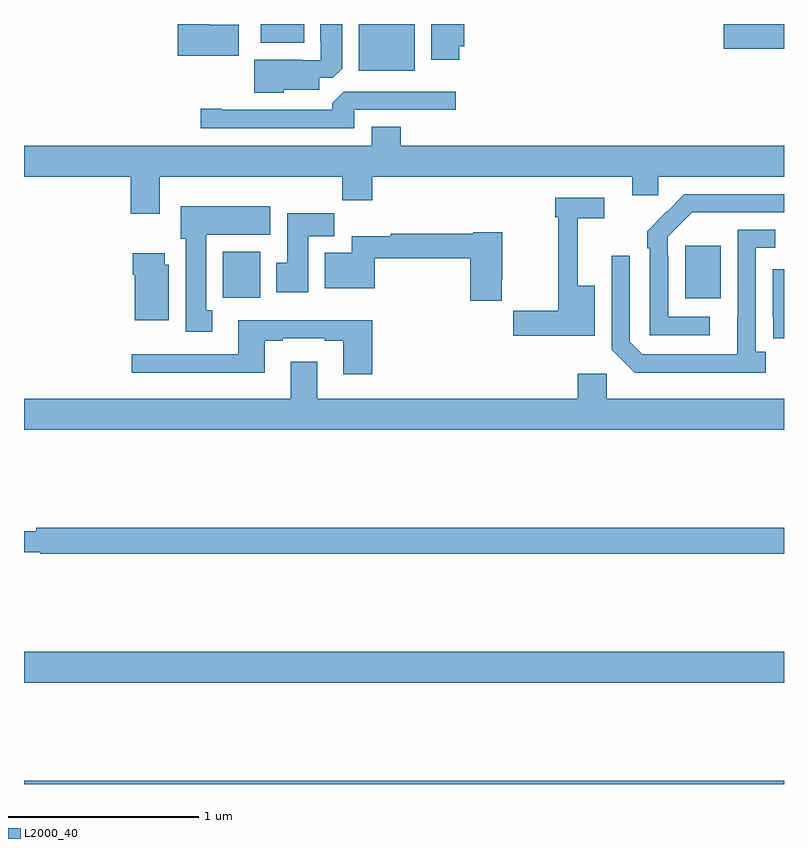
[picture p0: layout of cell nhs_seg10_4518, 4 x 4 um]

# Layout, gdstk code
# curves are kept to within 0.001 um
import gdstk
lib = gdstk.Library(unit=1e-6, precision=1e-09)
def R(c, l, rs):  # rectangles x0, y0, x1, y1
    for r in rs: c.add(gdstk.rectangle(r[:2], r[2:], *l))
def P(c, l, *ps):  # polygons
    for p in ps: c.add(gdstk.Polygon(p, *l))
L2000_40 = (2000, 40)

nhs_seg10_4518 = lib.new_cell('nhs_seg10_4518')
R(nhs_seg10_4518, L2000_40, [(369,1250.5,373,1250.516), (369,1251.032,373,1251.196), (372.479,1253.057,372.667,1253.332), (370.046,1253.06,370.243,1253.302), (370.763,1254.254,371.056,1254.5), (372.684,1254.371,373,1254.5), (370.247,1254.401,370.474,1254.5)])
P(nhs_seg10_4518, L2000_40, [(370.129,1254.495),(369.976,1254.495),(369.976,1254.5),(369.809,1254.5),(369.809,1254.332),(370.129,1254.332)],
  [(370.368,1254.155),(370.555,1254.155),(370.555,1254.216),(370.626,1254.216),(370.675,1254.265),(370.675,1254.5),(370.559,1254.5),(370.559,1254.409),(370.563,1254.409),(370.563,1254.309),(370.463,1254.309),(370.463,1254.313),(370.211,1254.313),(370.211,1254.137),(370.368,1254.137)],
  [(371.291,1254.383),(371.317,1254.383),(371.317,1254.5),(371.144,1254.5),(371.144,1254.312),(371.291,1254.312)],
  [(370.737,1254.048),(371.272,1254.048),(371.272,1254.144),(370.683,1254.144),(370.622,1254.082),(370.622,1254.048),(370.042,1254.048),(370.042,1254.053),(369.93,1254.053),(369.93,1253.952),(370.737,1253.952)],
  [(369,1253.696),(369.563,1253.696),(369.563,1253.502),(369.715,1253.502),(369.715,1253.696),(370.675,1253.696),(370.675,1253.572),(370.832,1253.572),(370.832,1253.696),(372.2,1253.696),(372.2,1253.598),(372.339,1253.598),(372.339,1253.696),(373,1253.696),(373,1253.86),(370.982,1253.86),(370.982,1253.959),(370.829,1253.959),(370.829,1253.86),(369,1253.86)],
  [(372.61,1252.959),(372.39,1252.959),(372.39,1253.279),(372.387,1253.279),(372.387,1253.379),(372.516,1253.508),(373,1253.508),(373,1253.604),(372.476,1253.604),(372.279,1253.409),(372.279,1253.321),(372.294,1253.321),(372.294,1252.863),(372.61,1252.863)],
  [(372.004,1253.122),(371.915,1253.122),(371.915,1253.478),(372.055,1253.478),(372.055,1253.586),(371.797,1253.586),(371.797,1253.483),(371.812,1253.483),(371.812,1252.991),(371.575,1252.991),(371.575,1252.858),(372.004,1252.858)],
  [(369.991,1252.994),(369.958,1252.994),(369.958,1253.39),(370.297,1253.39),(370.297,1253.542),(369.824,1253.542),(369.824,1253.37),(369.851,1253.37),(369.851,1252.881),(369.991,1252.881)],
  [(370.495,1253.384),(370.634,1253.384),(370.634,1253.503),(370.385,1253.503),(370.385,1253.244),(370.328,1253.244),(370.328,1253.088),(370.495,1253.088)],
  [(372.904,1252.774),(372.852,1252.774),(372.852,1253.322),(372.955,1253.322),(372.955,1253.418),(372.756,1253.418),(372.755,1252.761),(372.255,1252.761),(372.189,1252.827),(372.189,1253.281),(372.093,1253.281),(372.093,1252.785),(372.214,1252.664),(372.904,1252.664)],
  [(371.515,1253.155),(371.518,1253.155),(371.518,1253.403),(371.364,1253.403),(371.364,1253.395),(370.93,1253.395),(370.93,1253.384),(370.724,1253.384),(370.724,1253.296),(370.583,1253.296),(370.583,1253.108),(370.847,1253.108),(370.847,1253.266),(371.348,1253.266),(371.348,1253.044),(371.515,1253.044)],
  [(369.763,1253.232),(369.742,1253.232),(369.742,1253.293),(369.572,1253.293),(369.572,1253.18),(369.584,1253.18),(369.584,1252.94),(369.763,1252.94)],
  [(373,1253.209),(372.942,1253.209),(372.942,1252.954),(372.943,1252.954),(372.943,1252.845),(373,1252.845)],
  [(370.832,1252.942),(370.127,1252.942),(370.127,1252.761),(369.567,1252.761),(369.567,1252.664),(370.267,1252.664),(370.267,1252.833),(370.363,1252.833),(370.363,1252.845),(370.583,1252.845),(370.583,1252.833),(370.679,1252.833),(370.679,1252.656),(370.832,1252.656)],
  [(373,1252.528),(372.066,1252.528),(372.066,1252.66),(371.915,1252.66),(371.915,1252.528),(370.543,1252.528),(370.543,1252.723),(370.403,1252.723),(370.403,1252.528),(369,1252.528),(369,1252.364),(373,1252.364)],
  [(373,1251.848),(369.064,1251.848),(369.064,1251.829),(369,1251.829),(369,1251.72),(369.086,1251.72),(369.086,1251.712),(373,1251.712)])

lib.write_gds('nhs_seg10_4518.gds')
